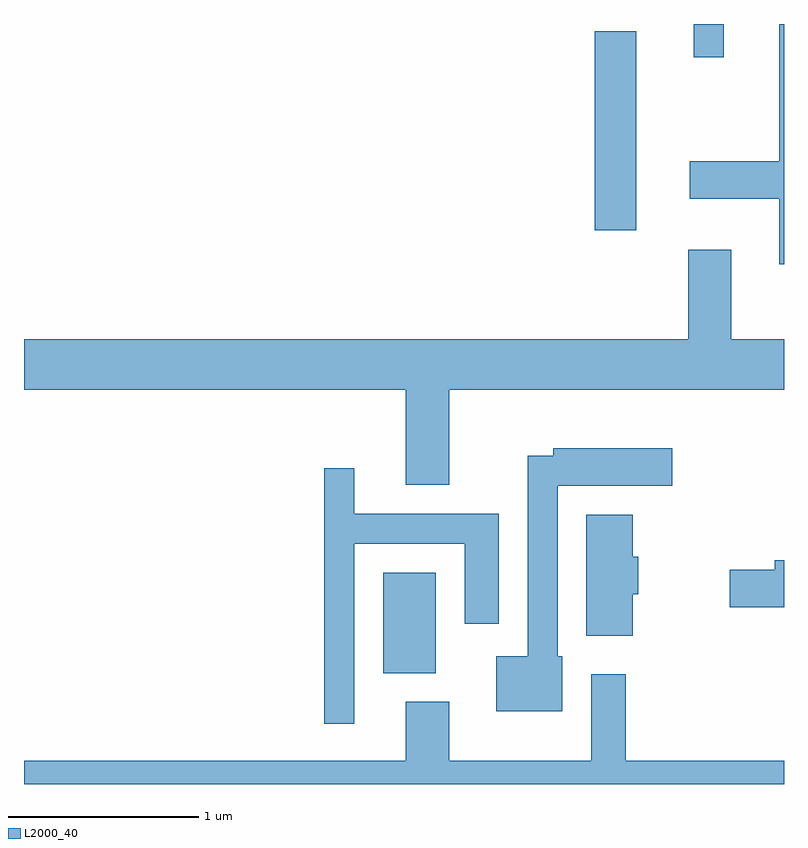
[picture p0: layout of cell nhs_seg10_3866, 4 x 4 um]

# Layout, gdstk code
import gdstk
lib = gdstk.Library(unit=1e-6, precision=1e-09)
def R(c, l, rs):  # rectangles x0, y0, x1, y1
    for r in rs: c.add(gdstk.rectangle(r[:2], r[2:], *l))
def P(c, l, *ps):  # polygons
    for p in ps: c.add(gdstk.Polygon(p, *l))
L2000_40 = (2000, 40)

nhs_seg10_3866 = lib.new_cell('nhs_seg10_3866')
R(nhs_seg10_3866, L2000_40, [(301.501,2099.106,301.779,2099.634), (302.616,2101.436,302.834,2102.484), (303.136,2102.348,303.294,2102.522)])
P(nhs_seg10_3866, L2000_40, [(303.611,2102.522),(303.586,2102.522),(303.586,2101.799),(303.116,2101.799),(303.116,2101.601),(303.586,2101.601),(303.586,2101.258),(303.611,2101.258)],
  [(301.849,2100.596),(303.611,2100.596),(303.611,2100.864),(303.334,2100.864),(303.334,2101.334),(303.106,2101.334),(303.106,2100.864),(299.611,2100.864),(299.611,2100.596),(301.621,2100.596),(301.621,2100.096),(301.849,2100.096)],
  [(302.444,2099.194),(302.419,2099.194),(302.419,2100.091),(303.024,2100.091),(303.024,2100.289),(302.396,2100.289),(302.396,2100.249),(302.261,2100.249),(302.261,2099.194),(302.096,2099.194),(302.096,2098.906),(302.444,2098.906)],
  [(301.349,2099.786),(301.931,2099.786),(301.931,2099.366),(302.109,2099.366),(302.109,2099.944),(301.349,2099.944),(301.349,2100.183),(301.191,2100.183),(301.191,2098.838),(301.349,2098.838)],
  [(302.814,2099.521),(302.844,2099.521),(302.844,2099.719),(302.814,2099.719),(302.814,2099.939),(302.571,2099.939),(302.571,2099.301),(302.814,2099.301)],
  [(303.611,2099.699),(303.561,2099.699),(303.561,2099.649),(303.326,2099.649),(303.326,2099.451),(303.611,2099.451)],
  [(303.611,2098.644),(302.779,2098.644),(302.779,2099.099),(302.596,2099.099),(302.596,2098.644),(301.849,2098.644),(301.849,2098.954),(301.621,2098.954),(301.621,2098.644),(299.611,2098.644),(299.611,2098.522),(303.611,2098.522)])

lib.write_gds('nhs_seg10_3866.gds')
